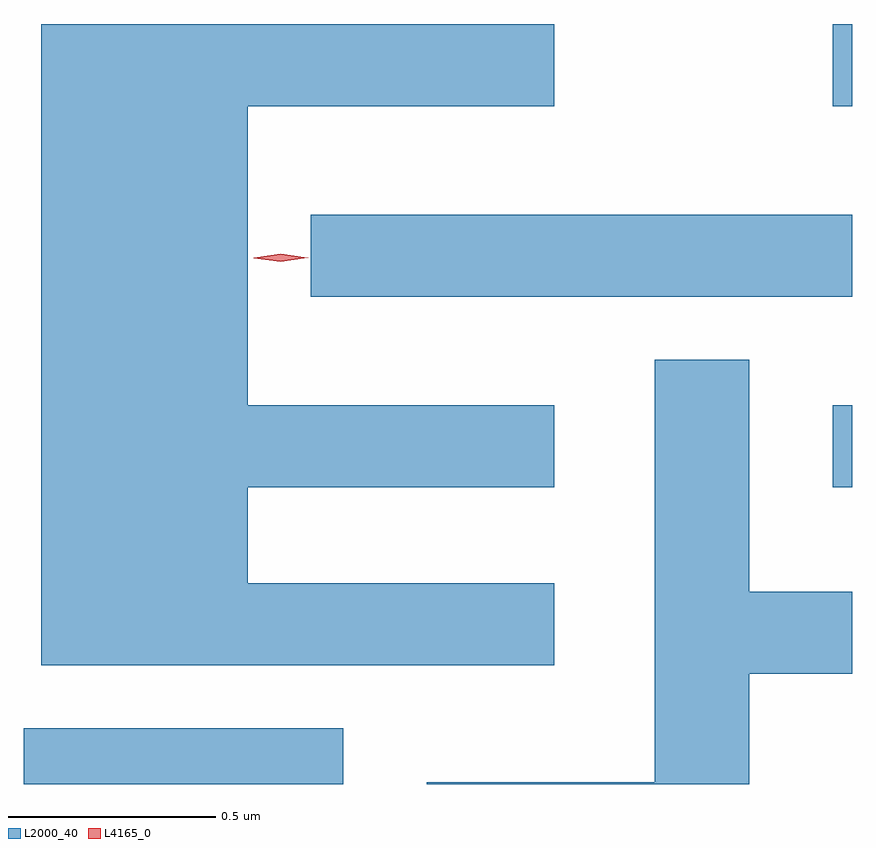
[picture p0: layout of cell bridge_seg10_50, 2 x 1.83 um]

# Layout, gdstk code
import gdstk
lib = gdstk.Library(unit=1e-6, precision=1e-09)
def R(c, l, rs):  # rectangles x0, y0, x1, y1
    for r in rs: c.add(gdstk.rectangle(r[:2], r[2:], *l))
def P(c, l, *ps):  # polygons
    for p in ps: c.add(gdstk.Polygon(p, *l))
L2000_40 = (2000, 40)
L4165_0 = (4165, 0)

bridge_seg10_50 = lib.new_cell('bridge_seg10_50')
R(bridge_seg10_50, L2000_40, [(1753.993,2212.99,1754.764,2213.124), (1755.946,2213.706,1755.993,2213.904), (1754.686,2214.166,1755.993,2214.364), (1755.946,2214.626,1755.993,2214.824)])
P(bridge_seg10_50, L2000_40, [(1755.274,2213.474),(1754.534,2213.474),(1754.534,2213.706),(1755.274,2213.706),(1755.274,2213.904),(1754.534,2213.904),(1754.534,2214.626),(1755.274,2214.626),(1755.274,2214.824),(1754.036,2214.824),(1754.036,2213.276),(1755.274,2213.276)],
  [(1755.744,2213.256),(1755.993,2213.256),(1755.993,2213.454),(1755.744,2213.454),(1755.744,2214.014),(1755.516,2214.014),(1755.516,2212.994),(1754.966,2212.994),(1754.966,2212.99),(1755.744,2212.99)])
P(bridge_seg10_50, L4165_0, [(1754.614,2214.25),(1754.548,2214.259),(1754.548,2214.26),(1754.548,2214.26),(1754.614,2214.27),(1754.679,2214.26),(1754.68,2214.26),(1754.679,2214.26)])

lib.write_gds('bridge_seg10_50.gds')
